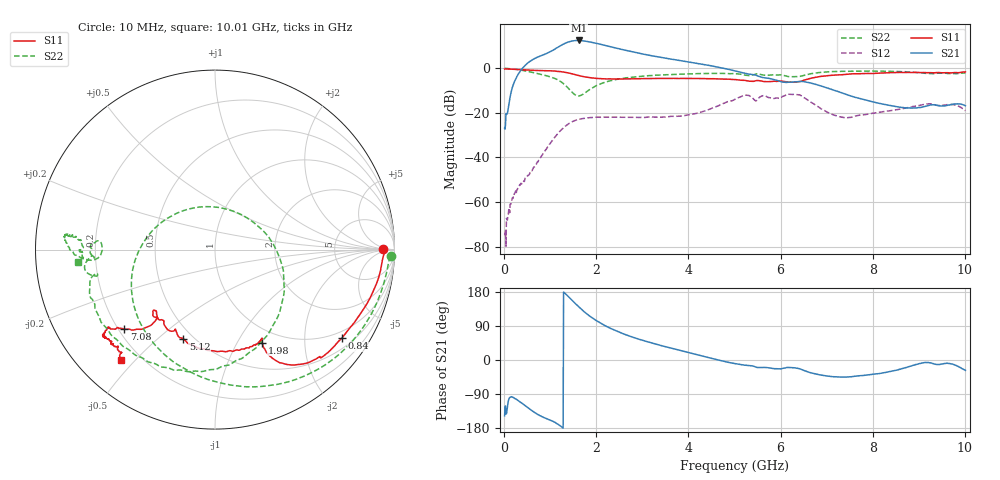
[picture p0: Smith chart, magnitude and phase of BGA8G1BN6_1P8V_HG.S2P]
!Agilent Technologies,E5071C,MY46317100,A.11.08
!Date: Tue Jan 31 20:44:40 2017
!Data & Calibration Information:
!Freq	S11:SOLT2(ON)	S21:SOLT2(ON)	S12:SOLT2(ON)	S22:SOLT2(ON)
!PortZ  Port1:50+j0  Port2:50+j0
!Above PortZ is port z conversion or system Z0 setting when saving the data.
!When reading, reference impedance value at option line is always used.
# Hz S dB R 50
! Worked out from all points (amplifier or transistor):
!   1001 points, 10 MHz to 10.01 GHz, reference 50 ohm
!   highest |S21| = 12.2 dB at 1.62 GHz (marker M1)
!   |S21| within 3 dB of that: 1.167 GHz to 2.342 GHz (1.175 GHz wide, 66.9 % of centre)
!   unconditionally stable (mu >= 1): start of sweep to 4.303 GHz; 5.303 GHz to end of sweep
!   at 1.67 GHz: K = 1.13, MAG = 15.3 dB, |S12| = -22.8 dB
!   at 5.01 GHz: K = 0.67, MSG = 6.3 dB, |S12| = -14.1 dB
!   at 10.01 GHz: K = 4.35, MAG = -8.2 dB, |S12| = -19.2 dB
!   lowest NFmin = 0.19 dB at 1.25 GHz
!   S11 on the Smith chart (normalised r, x): 10 MHz: 29, +2; 840 MHz: 0.78, -2.99; 1.98 GHz: 0.82, -1.28; 5.12 GHz: 0.44, -0.61; 7.08 GHz: 0.22, -0.36; 10.01 GHz: 0.13, -0.45
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1e7  -0.59 0.2  -27.01 -147.2  -74.12 12.6  -0.18 -2.1
1.5e8  -0.63 -7.1  -11.10 -97.1  -60.80 106.9  -0.49 -20.1
2.9e8  -0.78 -13.7  -3.41 -106.0  -54.21 111.3  -0.82 -37.7
5.4e8  -1.06 -23.9  2.53 -128.1  -47.80 139.6  -1.75 -67.7
8.4e8  -1.29 -34.9  5.68 -150.6  -38.43 160.3  -3.18 -101.9
1.08e9  -1.44 -44.4  8.04 -163.1  -31.49 156.5  -4.63 -134.5
1.23e9  -1.76 -50.3  9.92 -174.9  -27.89 146.5  -6.22 -161.9
1.43e9  -2.49 -58.3  11.71 163.1  -24.58 128.0  -9.97 146.7
1.62e9  -3.47 -62.6  12.16 140.2  -23.05 110.4  -12.61 73.2
1.68e9  -3.76 -63.2  12.09 133.3  -22.74 105.8  -12.19 50.8
1.82e9  -4.29 -63.6  11.67 119.2  -22.33 96.5  -10.20 12.3
1.98e9  -4.71 -63.1  10.97 105.5  -22.09 88.2  -8.20 -14.6
2.25e9  -4.98 -62.6  9.65 86.9  -22.06 78.4  -6.11 -42.8
2.53e9  -5.04 -62.1  8.25 71.9  -22.10 72.7  -4.92 -61.3
3.35e9  -4.77 -66.9  4.81 40.1  -22.08 69.1  -3.30 -97.4
4.21e9  -4.81 -80.2  1.88 13.2  -20.17 82.5  -2.68 -129.3
5.01e9  -5.28 -105.6  -1.43 -9.5  -14.06 76.5  -2.62 -160.9
5.12e9  -5.56 -109.5  -1.95 -11.7  -13.05 70.2  -2.86 -165.6
6.68e9  -4.59 -132.1  -6.98 -34.5  -15.64 -6.1  -2.61 -176.1
7.08e9  -3.46 -138.7  -9.47 -43.2  -20.40 0.5  -1.80 179.2
8.35e9  -2.24 -143.1  -16.74 -31.1  -19.26 46.5  -1.57 174.4
1.001e10  -1.88 -130.5  -16.98 -27.2  -19.17 19.5  -2.29 -174.8
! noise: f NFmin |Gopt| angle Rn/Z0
1.1e+09  0.8224  0.5374  39  0.275
1.15e+09  0.8308  0.5369  39.51  0.2656
1.2e+09  0.8065  0.5099  42.68  0.2545
1.3e+09  0.8011  0.5069  43.89  0.2433
1.35e+09  0.7757  0.4976  45.63  0.2362
1.45e+09  0.7422  0.5051  49.32  0.2244
1.5e+09  0.7355  0.4821  48.61  0.2255
1.575e+09  0.7305  0.4741  50.11  0.2245
1.6e+09  0.7465  0.4749  51.34  0.2242
1.7e+09  0.7887  0.4764  54.34  0.2154
